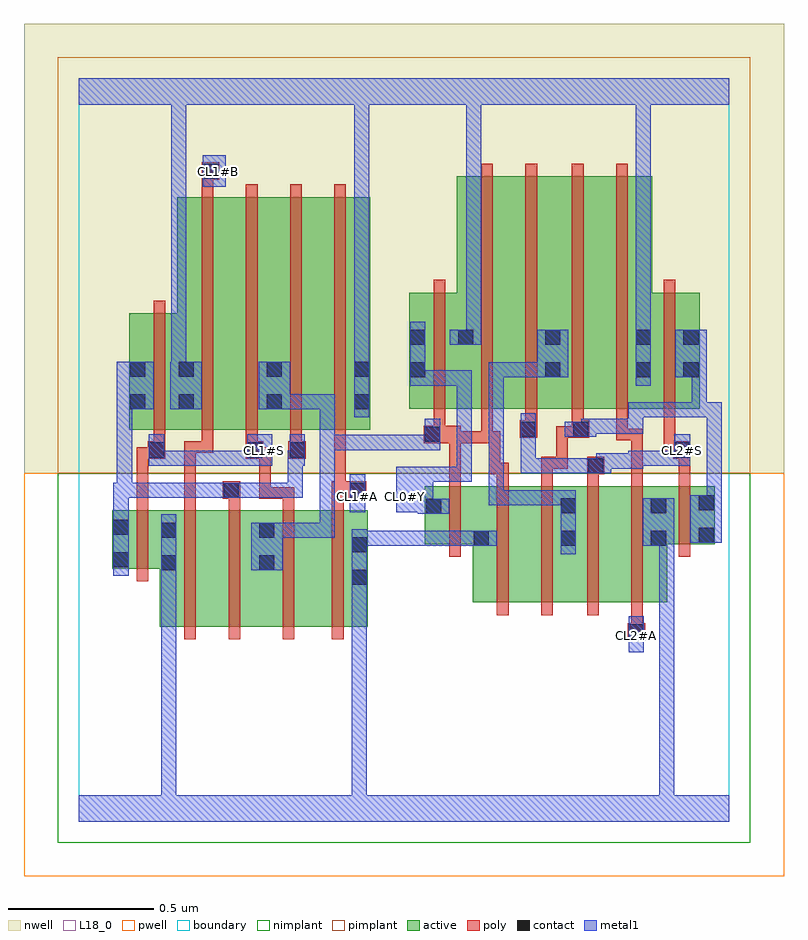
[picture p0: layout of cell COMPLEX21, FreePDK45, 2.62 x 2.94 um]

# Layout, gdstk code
import gdstk
lib = gdstk.Library(unit=1e-6, precision=1e-09)
def R(c, l, rs):  # rectangles x0, y0, x1, y1
    for r in rs: c.add(gdstk.rectangle(r[:2], r[2:], *l))
def A(c, l, x, y, w, h, nx, ny, dx, dy):  # array of equal rectangles
    R(c, l, [(x+i*dx, y+j*dy, x+i*dx+w, y+j*dy+h) for i in range(nx) for j in range(ny)])
active = (1, 0)
pwell = (2, 0)
nwell = (3, 0)
nimplant = (4, 0)
pimplant = (5, 0)
poly = (9, 0)
contact = (10, 0)
metal1 = (11, 0)
L18_0 = (18, 0)
boundary = (235, 0)

complex21 = lib.new_cell('COMPLEX21')
R(complex21, active, [(0.28,0.672,0.34,1.034), (0.28,0.672,0.46,1.072), (0.46,0.672,0.678,1.072), (0.618,0.672,0.816,1.072), (0.816,0.672,0.996,1.072), (0.618,0.756,0.678,1.034), (0.936,0.756,0.996,1.072), (1.356,0.756,1.536,1.156), (1.356,0.756,1.416,1.006), (1.536,0.756,1.716,1.156), (1.656,0.756,1.716,1.118), (1.656,0.756,1.846,1.156), (1.846,0.756,2.026,1.156), (1.966,0.756,2.026,1.118), (0.116,0.872,0.176,1.072), (0.116,0.872,0.34,1.072), (1.192,0.956,1.252,1.156), (1.192,0.956,1.416,1.156), (1.966,0.956,2.19,1.156), (2.13,0.956,2.19,1.156), (0.174,1.35,0.4,1.75), (0.174,1.35,0.234,1.644), (0.34,1.35,0.52,2.15), (0.52,1.35,0.704,2.15), (0.644,1.35,0.824,2.15), (0.644,1.35,0.704,2.044), (0.824,1.35,1.004,2.15), (0.944,1.35,1.004,2.044), (0.34,1.416,0.4,1.644), (1.138,1.422,1.198,1.698), (1.138,1.422,1.362,1.822), (1.302,1.422,1.362,1.698), (1.302,1.422,1.482,2.222), (1.482,1.422,1.662,2.222), (1.602,1.422,1.794,2.222), (1.602,1.422,1.662,2.044), (1.794,1.422,1.974,2.222), (1.914,1.422,1.974,1.698), (1.914,1.422,2.138,1.822), (2.078,1.422,2.138,1.698)])
R(complex21, pwell, [(-0.188,-0.188,2.428,1.2)])
R(complex21, nwell, [(-0.188,1.2,2.428,2.748)])
R(complex21, nimplant, [(-0.072,-0.072,2.312,1.2)])
R(complex21, pimplant, [(-0.072,1.2,2.312,2.632)])
A(complex21, poly, 0.424, 1.27, 0.04, 0.076, 3, 1, 0.152, 0)
A(complex21, poly, 0.424, 1.306, 0.04, 0.888, 4, 1, 0.152, 0)
R(complex21, poly, [(1.89,0.624,1.95,0.684), (0.364,0.628,0.404,1.116), (0.516,0.628,0.556,1.116), (0.702,0.628,0.742,1.116), (0.872,0.628,0.912,1.116), (1.902,0.644,1.942,0.752), (1.44,0.712,1.48,1.2), (1.592,0.712,1.632,1.2), (1.75,0.712,1.79,1.2), (1.902,0.712,1.942,1.2), (0.2,0.828,0.24,1.116), (1.276,0.912,1.316,1.2), (2.066,0.912,2.106,1.2), (0.2,1.076,0.24,1.29), (0.364,1.076,0.404,1.31), (0.516,1.076,0.556,1.152), (0.702,1.076,0.742,1.152), (0.872,1.076,0.912,1.152), (0.496,1.112,0.556,1.172), (0.622,1.112,0.662,1.152), (0.622,1.112,0.742,1.152), (0.622,1.112,0.662,1.29), (0.702,1.112,0.742,1.152), (0.872,1.112,0.99,1.172), (0.88,1.132,0.92,1.172), (0.88,1.132,0.92,1.172), (0.88,1.132,0.92,1.346), (1.276,1.16,1.316,1.344), (1.44,1.16,1.48,1.236), (1.592,1.16,1.632,1.256), (1.75,1.16,1.79,1.236), (1.902,1.16,1.942,1.354), (2.066,1.16,2.106,1.29), (1.412,1.196,1.452,1.344), (1.412,1.196,1.48,1.236), (1.75,1.196,1.81,1.256), (1.592,1.216,1.632,1.256), (1.592,1.216,1.684,1.256), (1.644,1.216,1.684,1.256), (1.644,1.216,1.684,1.362), (0.2,1.25,0.278,1.29), (0.238,1.25,0.278,1.29), (0.238,1.25,0.298,1.31), (0.576,1.25,0.636,1.31), (0.596,1.25,0.662,1.29), (0.622,1.25,0.662,1.29), (0.722,1.25,0.782,1.31), (2.046,1.25,2.106,1.31), (0.258,1.27,0.298,1.346), (0.364,1.27,0.42,1.31), (0.38,1.27,0.42,1.31), (0.38,1.27,0.464,1.31), (2.014,1.27,2.054,1.418), (2.014,1.27,2.086,1.31), (2.046,1.27,2.086,1.31), (1.188,1.304,1.316,1.364), (1.276,1.304,1.316,1.344), (1.276,1.304,1.316,1.344), (1.276,1.304,1.426,1.344), (1.386,1.304,1.426,1.344), (1.386,1.304,1.426,1.344), (1.386,1.304,1.452,1.344), (1.386,1.304,1.426,1.418), (0.258,1.306,0.298,1.794), (1.85,1.314,1.89,1.418), (1.85,1.314,1.916,1.354), (1.876,1.314,1.916,1.354), (1.876,1.314,1.942,1.354), (1.518,1.322,1.578,1.382), (1.644,1.322,1.684,1.362), (1.644,1.322,1.738,1.362), (1.698,1.322,1.758,1.382), (1.222,1.324,1.262,1.418), (1.538,1.342,1.578,1.418), (1.698,1.342,1.738,1.418), (1.222,1.378,1.262,1.866), (1.386,1.378,1.426,2.266), (1.538,1.378,1.578,2.266), (1.698,1.378,1.738,2.266), (1.85,1.378,1.89,2.266), (2.014,1.378,2.054,1.866), (0.424,2.154,0.464,2.25), (0.424,2.21,0.484,2.27)])
R(complex21, contact, [(1.894,0.628,1.946,0.68), (0.94,0.816,0.992,0.868), (0.284,0.866,0.336,0.918), (0.622,0.866,0.674,0.918), (0.12,0.876,0.172,0.928), (0.94,0.928,0.992,0.98), (1.36,0.95,1.412,1.002), (1.66,0.95,1.712,1.002), (1.97,0.95,2.022,1.002), (2.134,0.96,2.186,1.012), (0.284,0.978,0.336,1.03), (0.622,0.978,0.674,1.03), (0.12,0.988,0.172,1.04), (1.196,1.06,1.248,1.112), (1.66,1.062,1.712,1.114), (1.97,1.062,2.022,1.114), (2.134,1.072,2.186,1.124), (0.5,1.116,0.552,1.168), (0.934,1.116,0.986,1.168), (1.754,1.2,1.806,1.252), (0.242,1.254,0.294,1.306), (0.58,1.254,0.632,1.306), (0.726,1.254,0.778,1.306), (2.05,1.254,2.102,1.306), (1.192,1.308,1.244,1.36), (1.522,1.326,1.574,1.378), (1.702,1.326,1.754,1.378), (0.178,1.42,0.23,1.472), (0.344,1.42,0.396,1.472), (0.648,1.42,0.7,1.472), (0.948,1.42,1,1.472), (1.142,1.53,1.194,1.582), (1.606,1.53,1.658,1.582), (1.918,1.53,1.97,1.582), (2.082,1.53,2.134,1.582), (0.178,1.532,0.23,1.584), (0.344,1.532,0.396,1.584), (0.648,1.532,0.7,1.584), (0.948,1.532,1,1.584), (1.142,1.642,1.194,1.694), (1.306,1.642,1.358,1.694), (1.606,1.642,1.658,1.694), (1.918,1.642,1.97,1.694), (2.082,1.642,2.134,1.694), (0.428,2.214,0.48,2.266)])
R(complex21, metal1, [(0,0,2.24,0.092), (0.284,0.04,0.336,0.092), (0.284,0.04,0.336,0.092), (0.284,0.04,0.336,0.092), (0.284,0.04,0.336,0.092), (0.284,0.04,0.336,0.89), (0.94,0.04,0.992,0.092), (0.94,0.04,0.992,0.092), (0.94,0.04,0.992,0.092), (0.94,0.04,0.992,0.092), (0.94,0.04,0.992,0.092), (0.94,0.04,0.992,0.092), (0.94,0.04,0.992,0.092), (0.94,0.04,0.992,0.092), (0.94,0.04,0.992,0.092), (0.94,0.04,0.992,0.092), (0.94,0.04,0.992,0.092), (0.94,0.04,0.992,0.092), (0.94,0.04,0.992,0.84), (1.998,0.04,2.05,1.002), (1.998,0.04,2.054,0.092), (2.002,0.04,2.054,0.092), (2.002,0.04,2.054,0.092), (2.002,0.04,2.054,0.092), (2.002,0.04,2.054,0.092), (2.002,0.04,2.054,0.092), (2.002,0.04,2.054,0.092), (2.002,0.04,2.054,0.092), (2.002,0.04,2.054,0.092), (2.002,0.04,2.054,0.092), (1.894,0.584,1.946,0.708), (0.94,0.788,0.992,1.008), (0.284,0.838,0.336,0.89), (0.284,0.838,0.336,0.89), (0.284,0.838,0.336,0.89), (0.284,0.838,0.336,0.89), (0.284,0.838,0.336,0.89), (0.284,0.838,0.336,0.89), (0.284,0.838,0.336,0.89), (0.284,0.838,0.336,0.89), (0.284,0.838,0.336,1.058), (0.12,0.848,0.172,1.068), (0.594,0.866,0.702,1.03), (1.66,0.922,1.712,1.142), (0.94,0.95,1.134,1.002), (1.082,0.95,1.134,1.002), (1.082,0.95,1.134,1.002), (1.082,0.95,1.134,1.002), (1.082,0.95,1.384,1.002), (1.332,0.95,1.44,1.002), (1.942,0.95,2.05,1.114), (1.998,0.95,2.05,1.002), (1.998,0.95,2.05,1.002), (2.106,0.96,2.214,1.124), (0.65,0.978,0.876,1.03), (0.824,0.978,0.876,1.03), (0.824,0.978,0.882,1.03), (0.83,0.978,0.882,1.03), (0.83,0.978,0.882,1.03), (0.83,0.978,0.882,1.03), (0.83,0.978,0.882,1.332), (0.12,1.016,0.172,1.168), (1.168,1.06,1.276,1.112), (1.168,1.06,1.22,1.118), (0.934,1.066,0.986,1.196), (1.094,1.066,1.22,1.222), (2.162,1.072,2.214,1.444), (2.162,1.072,2.214,1.124), (2.162,1.072,2.214,1.124), (1.412,1.09,1.464,1.142), (1.412,1.09,1.464,1.142), (1.412,1.09,1.464,1.142), (1.412,1.09,1.464,1.142), (1.412,1.09,1.464,1.142), (1.412,1.09,1.712,1.142), (1.412,1.09,1.464,1.582), (0.12,1.116,0.184,1.168), (0.132,1.116,0.184,1.168), (0.132,1.116,0.184,1.168), (0.132,1.116,0.404,1.168), (0.132,1.116,0.184,1.472), (0.352,1.116,0.404,1.168), (0.352,1.116,0.404,1.168), (0.352,1.116,0.404,1.168), (0.352,1.116,0.524,1.168), (0.472,1.116,0.524,1.168), (0.472,1.116,0.524,1.168), (0.472,1.116,0.58,1.168), (0.528,1.116,0.772,1.168), (0.72,1.116,0.772,1.168), (0.72,1.116,0.772,1.278), (1.168,1.17,1.354,1.222), (1.302,1.17,1.354,1.222), (1.302,1.17,1.354,1.222), (1.302,1.17,1.354,1.222), (1.302,1.17,1.354,1.222), (1.302,1.17,1.354,1.222), (1.302,1.17,1.354,1.554), (1.522,1.2,1.574,1.252), (1.522,1.2,1.778,1.252), (1.522,1.2,1.574,1.35), (1.726,1.2,1.834,1.252), (1.782,1.2,1.834,1.252), (1.782,1.2,1.834,1.268), (1.782,1.216,1.944,1.268), (1.892,1.216,1.944,1.278), (0.242,1.226,0.294,1.278), (0.242,1.226,0.294,1.278), (0.242,1.226,0.294,1.334), (0.242,1.226,0.414,1.278), (0.362,1.226,0.414,1.278), (0.362,1.226,0.536,1.278), (0.484,1.226,0.536,1.278), (0.484,1.226,0.632,1.278), (0.58,1.226,0.666,1.334), (0.72,1.226,0.772,1.278), (0.72,1.226,0.778,1.278), (0.726,1.226,0.778,1.334), (1.892,1.226,1.944,1.278), (1.892,1.226,1.944,1.278), (1.892,1.226,2.102,1.278), (2.05,1.226,2.106,1.334), (0.83,1.28,0.882,1.332), (0.83,1.28,1.024,1.332), (0.83,1.28,0.882,1.472), (0.972,1.28,1.024,1.332), (0.972,1.28,1.024,1.332), (0.972,1.28,1.024,1.332), (0.972,1.28,1.22,1.332), (1.168,1.28,1.22,1.332), (1.168,1.28,1.244,1.332), (1.192,1.28,1.244,1.388), (1.522,1.298,1.574,1.35), (1.522,1.298,1.574,1.35), (1.522,1.298,1.574,1.406), (1.674,1.326,1.782,1.378), (1.73,1.326,1.782,1.378), (1.73,1.326,1.782,1.388), (1.73,1.336,1.944,1.388), (1.892,1.336,1.944,1.388), (1.892,1.336,1.944,1.388), (1.892,1.336,1.944,1.444), (0.948,1.392,1,1.612), (1.892,1.392,2.162,1.444), (2.11,1.392,2.162,1.582), (2.11,1.392,2.162,1.444), (2.11,1.392,2.162,1.444), (2.11,1.392,2.214,1.444), (0.132,1.42,0.184,1.472), (0.132,1.42,0.184,1.472), (0.132,1.42,0.258,1.584), (0.316,1.42,0.424,1.584), (0.62,1.42,0.728,1.584), (0.676,1.42,0.776,1.472), (0.724,1.42,0.776,1.472), (0.724,1.42,0.882,1.472), (0.83,1.42,0.882,1.472), (1.142,1.502,1.194,1.722), (1.142,1.502,1.354,1.554), (1.302,1.502,1.354,1.554), (1.302,1.502,1.354,1.554), (1.302,1.502,1.354,1.554), (1.918,1.502,1.97,1.722), (1.412,1.53,1.464,1.582), (1.412,1.53,1.464,1.582), (1.412,1.53,1.464,1.582), (1.412,1.53,1.464,1.582), (1.412,1.53,1.464,1.582), (1.412,1.53,1.63,1.582), (1.578,1.53,1.686,1.694), (2.054,1.53,2.162,1.694), (0.318,1.532,0.37,1.584), (0.318,1.532,0.37,1.584), (0.318,1.532,0.37,1.584), (0.318,1.532,0.37,1.584), (0.318,1.532,0.37,1.584), (0.318,1.532,0.37,1.584), (0.318,1.532,0.37,2.52), (0.948,1.56,1,2.52), (1.278,1.642,1.386,1.694), (1.334,1.642,1.386,1.694), (1.334,1.642,1.386,1.694), (1.334,1.642,1.386,1.694), (1.334,1.642,1.386,1.694), (1.334,1.642,1.386,1.694), (1.334,1.642,1.386,1.694), (1.334,1.642,1.386,1.694), (1.334,1.642,1.386,1.694), (1.334,1.642,1.386,2.52), (1.918,1.67,1.97,1.722), (1.918,1.67,1.97,1.722), (1.918,1.67,1.97,1.722), (1.918,1.67,1.97,1.722), (1.918,1.67,1.97,1.722), (1.918,1.67,1.97,1.722), (1.918,1.67,1.97,1.722), (1.918,1.67,1.97,1.722), (1.918,1.67,1.97,2.52), (0.428,2.186,0.506,2.294), (0,2.468,2.24,2.56), (0.318,2.468,0.37,2.52), (0.318,2.468,0.37,2.52), (0.948,2.468,1,2.52), (0.948,2.468,1,2.52), (0.948,2.468,1,2.52), (0.948,2.468,1,2.52), (0.948,2.468,1,2.52), (0.948,2.468,1,2.52), (0.948,2.468,1,2.52), (0.948,2.468,1,2.52)])
R(complex21, L18_0, [(0,0,2.24,0.092), (0.284,0.04,0.336,0.092), (0.284,0.04,0.336,0.092), (0.284,0.04,0.336,0.092), (0.284,0.04,0.336,0.092), (0.284,0.04,0.336,0.89), (0.94,0.04,0.992,0.092), (0.94,0.04,0.992,0.092), (0.94,0.04,0.992,0.092), (0.94,0.04,0.992,0.092), (0.94,0.04,0.992,0.092), (0.94,0.04,0.992,0.092), (0.94,0.04,0.992,0.092), (0.94,0.04,0.992,0.092), (0.94,0.04,0.992,0.092), (0.94,0.04,0.992,0.092), (0.94,0.04,0.992,0.092), (0.94,0.04,0.992,0.092), (0.94,0.04,0.992,0.84), (1.998,0.04,2.054,0.092), (1.998,0.04,2.05,1.002), (2.002,0.04,2.054,0.092), (2.002,0.04,2.054,0.092), (2.002,0.04,2.054,0.092), (2.002,0.04,2.054,0.092), (2.002,0.04,2.054,0.092), (2.002,0.04,2.054,0.092), (2.002,0.04,2.054,0.092), (2.002,0.04,2.054,0.092), (2.002,0.04,2.054,0.092), (1.894,0.584,1.946,0.708), (1.894,0.614,1.946,0.666), (0.94,0.788,0.992,1.008), (0.284,0.838,0.336,0.89), (0.284,0.838,0.336,0.89), (0.284,0.838,0.336,0.89), (0.284,0.838,0.336,0.89), (0.284,0.838,0.336,0.89), (0.284,0.838,0.336,0.89), (0.284,0.838,0.336,0.89), (0.284,0.838,0.336,0.89), (0.284,0.838,0.336,1.058), (0.94,0.95,1.134,1.002), (1.082,0.95,1.134,1.002), (1.082,0.95,1.134,1.002), (1.082,0.95,1.134,1.002), (1.082,0.95,1.384,1.002), (1.332,0.95,1.44,1.002), (1.942,0.95,2.05,1.114), (1.998,0.95,2.05,1.002), (1.998,0.95,2.05,1.002), (1.168,1.06,1.276,1.112), (1.168,1.06,1.22,1.118), (0.934,1.066,0.986,1.196), (1.094,1.066,1.22,1.222), (0.934,1.094,0.986,1.146), (1.094,1.094,1.146,1.146), (1.168,1.17,1.354,1.222), (1.302,1.17,1.354,1.222), (1.302,1.17,1.354,1.222), (1.302,1.17,1.354,1.222), (1.302,1.17,1.354,1.222), (1.302,1.17,1.354,1.222), (1.302,1.17,1.354,1.554), (1.522,1.2,1.574,1.252), (1.522,1.2,1.574,1.35), (1.522,1.2,1.778,1.252), (1.726,1.2,1.834,1.252), (1.782,1.2,1.834,1.252), (1.782,1.2,1.834,1.268), (1.782,1.216,1.944,1.268), (1.892,1.216,1.944,1.278), (0.242,1.226,0.294,1.334), (0.242,1.226,0.294,1.278), (0.242,1.226,0.294,1.278), (0.242,1.226,0.414,1.278), (0.362,1.226,0.414,1.278), (0.362,1.226,0.536,1.278), (0.484,1.226,0.536,1.278), (0.484,1.226,0.632,1.278), (0.58,1.226,0.666,1.334), (1.892,1.226,1.944,1.278), (1.892,1.226,1.944,1.278), (1.892,1.226,2.102,1.278), (2.05,1.226,2.106,1.334), (0.614,1.254,0.666,1.306), (2.054,1.254,2.106,1.306), (1.522,1.298,1.574,1.406), (1.522,1.298,1.574,1.35), (1.522,1.298,1.574,1.35), (0.948,1.392,1,1.612), (0.316,1.42,0.424,1.584), (1.142,1.502,1.194,1.722), (1.142,1.502,1.354,1.554), (1.302,1.502,1.354,1.554), (1.302,1.502,1.354,1.554), (1.302,1.502,1.354,1.554), (1.918,1.502,1.97,1.722), (0.318,1.532,0.37,1.584), (0.318,1.532,0.37,1.584), (0.318,1.532,0.37,1.584), (0.318,1.532,0.37,1.584), (0.318,1.532,0.37,1.584), (0.318,1.532,0.37,1.584), (0.318,1.532,0.37,2.52), (0.948,1.56,1,2.52), (1.278,1.642,1.386,1.694), (1.334,1.642,1.386,1.694), (1.334,1.642,1.386,1.694), (1.334,1.642,1.386,1.694), (1.334,1.642,1.386,1.694), (1.334,1.642,1.386,1.694), (1.334,1.642,1.386,1.694), (1.334,1.642,1.386,1.694), (1.334,1.642,1.386,1.694), (1.334,1.642,1.386,2.52), (1.918,1.67,1.97,1.722), (1.918,1.67,1.97,1.722), (1.918,1.67,1.97,1.722), (1.918,1.67,1.97,1.722), (1.918,1.67,1.97,1.722), (1.918,1.67,1.97,1.722), (1.918,1.67,1.97,1.722), (1.918,1.67,1.97,1.722), (1.918,1.67,1.97,2.52), (0.428,2.186,0.506,2.294), (0.454,2.214,0.506,2.266), (0,2.468,2.24,2.56), (0.318,2.468,0.37,2.52), (0.318,2.468,0.37,2.52), (0.948,2.468,1,2.52), (0.948,2.468,1,2.52), (0.948,2.468,1,2.52), (0.948,2.468,1,2.52), (0.948,2.468,1,2.52), (0.948,2.468,1,2.52), (0.948,2.468,1,2.52), (0.948,2.468,1,2.52)])
R(complex21, boundary, [(0,0,2.24,2.56)])
complex21.add(gdstk.Label('CL0#Y', (1.12,1.12), layer=11, texttype=0))
complex21.add(gdstk.Label('CL1#A', (0.96,1.12), layer=11, texttype=0))
complex21.add(gdstk.Label('CL1#B', (0.48,2.24), layer=11, texttype=0))
complex21.add(gdstk.Label('CL1#S', (0.64,1.28), layer=11, texttype=0))
complex21.add(gdstk.Label('CL2#A', (1.92,0.64), layer=11, texttype=0))
complex21.add(gdstk.Label('CL2#S', (2.08,1.28), layer=11, texttype=0))

lib.write_gds('COMPLEX21.gds')
